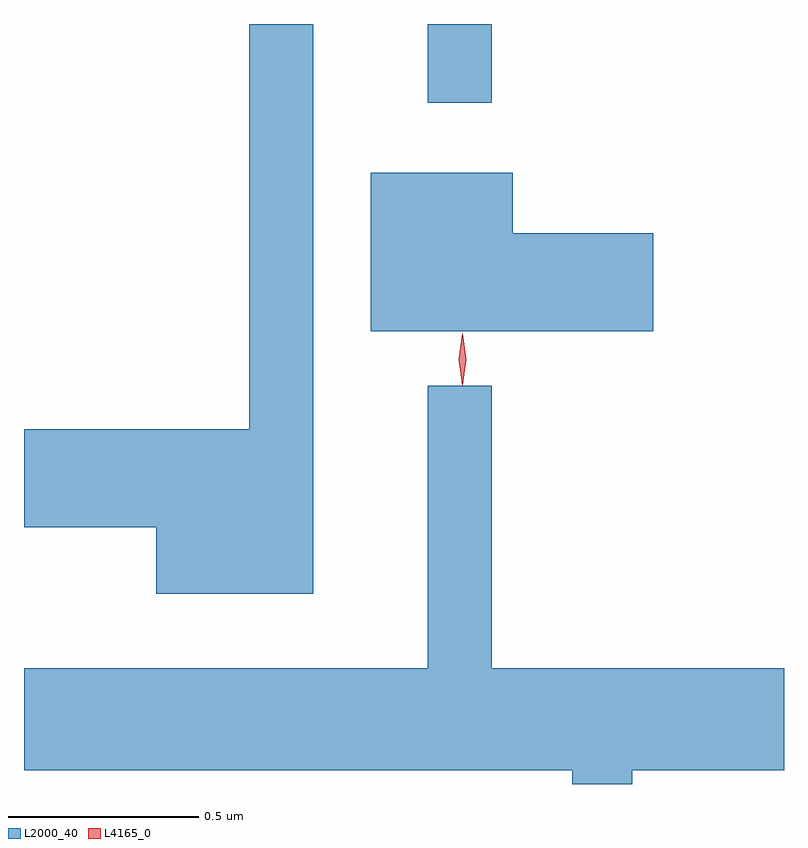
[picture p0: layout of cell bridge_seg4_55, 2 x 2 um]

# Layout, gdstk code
import gdstk
lib = gdstk.Library(unit=1e-6, precision=1e-09)
def R(c, l, rs):  # rectangles x0, y0, x1, y1
    for r in rs: c.add(gdstk.rectangle(r[:2], r[2:], *l))
def P(c, l, *ps):  # polygons
    for p in ps: c.add(gdstk.Polygon(p, *l))
L2000_40 = (2000, 40)
L4165_0 = (4165, 0)

bridge_seg4_55 = lib.new_cell('bridge_seg4_55')
R(bridge_seg4_55, L2000_40, [(1280.131,1289.833,1280.299,1290.04)])
P(bridge_seg4_55, L2000_40, [(1279.829,1290.04),(1279.661,1290.04),(1279.661,1288.974),(1279.068,1288.974),(1279.068,1288.716),(1279.416,1288.716),(1279.416,1288.541),(1279.829,1288.541)],
  [(1280.724,1289.489),(1280.354,1289.489),(1280.354,1289.649),(1279.981,1289.649),(1279.981,1289.231),(1280.724,1289.231)],
  [(1280.669,1288.076),(1281.068,1288.076),(1281.068,1288.344),(1280.299,1288.344),(1280.299,1289.088),(1280.131,1289.088),(1280.131,1288.344),(1279.068,1288.344),(1279.068,1288.076),(1280.511,1288.076),(1280.511,1288.04),(1280.669,1288.04)])
P(bridge_seg4_55, L4165_0, [(1280.221,1289.09),(1280.212,1289.158),(1280.221,1289.225),(1280.222,1289.226),(1280.222,1289.225),(1280.232,1289.158),(1280.222,1289.09),(1280.222,1289.09)],
  [(1280.221,1289.093),(1280.212,1289.156),(1280.221,1289.219),(1280.222,1289.22),(1280.222,1289.219),(1280.232,1289.156),(1280.222,1289.093),(1280.222,1289.093)])

lib.write_gds('bridge_seg4_55.gds')
